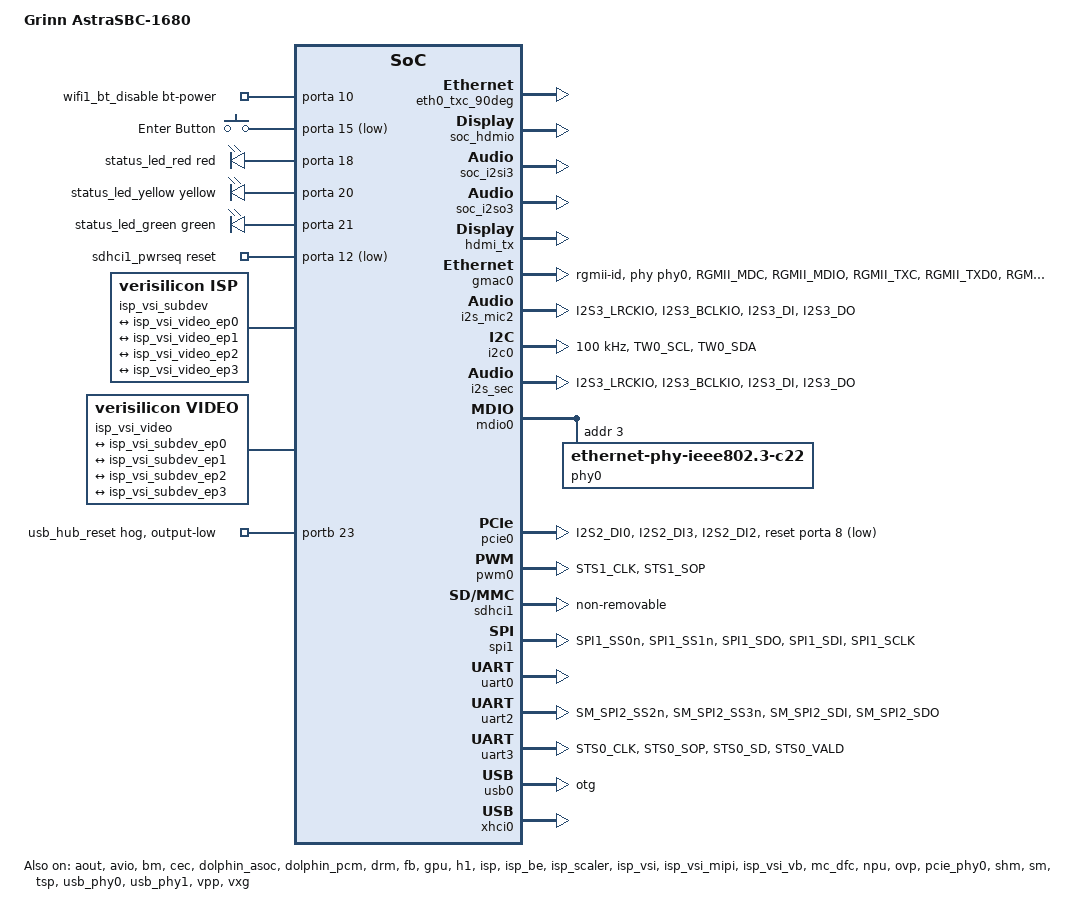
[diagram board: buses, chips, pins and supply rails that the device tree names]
// SPDX-License-Identifier: GPL-2.0+
/*
 * Copyright (C) 2016~2023 Synaptics Incorporated. All rights reserved.
 * Copyright (C) 2025-2026 Grinn sp. z o.o.
 *
 * This program is free software; you can redistribute it and/or modify
 * it under the terms of the GNU General Public License version 2 or
 * later as published by the Free Software Foundation.
 *
 * INFORMATION CONTAINED IN THIS DOCUMENT IS PROVIDED "AS-IS," AND
 * SYNAPTICS EXPRESSLY DISCLAIMS ALL EXPRESS AND IMPLIED WARRANTIES,
 * INCLUDING ANY IMPLIED WARRANTIES OF MERCHANTABILITY AND FITNESS FOR
 * A PARTICULAR PURPOSE, AND ANY WARRANTIES OF NON-INFRINGEMENT OF ANY
 * INTELLECTUAL PROPERTY RIGHTS. IN NO EVENT SHALL SYNAPTICS BE LIABLE
 * FOR ANY DIRECT, INDIRECT, INCIDENTAL, SPECIAL, PUNITIVE, OR
 * CONSEQUENTIAL DAMAGES ARISING OUT OF OR IN CONNECTION WITH THE USE
 * OF THE INFORMATION CONTAINED IN THIS DOCUMENT, HOWEVER CAUSED AND
 * BASED ON ANY THEORY OF LIABILITY, WHETHER IN AN ACTION OF CONTRACT,
 * NEGLIGENCE OR OTHER TORTIOUS ACTION, AND EVEN IF SYNAPTICS WAS
 * ADVISED OF THE POSSIBILITY OF SUCH DAMAGE. IF A TRIBUNAL OF
 * COMPETENT JURISDICTION DOES NOT PERMIT THE DISCLAIMER OF DIRECT
 * DAMAGES OR ANY OTHER DAMAGES, SYNAPTICS' TOTAL CUMULATIVE LIABILITY
 * TO ANY PARTY SHALL NOT EXCEED ONE HUNDRED U.S. DOLLARS.
 */

/dts-v1/;

#include <dt-bindings/gpio/gpio.h>
#include <dt-bindings/input/input.h>
#include <dt-bindings/leds/common.h>
#include "grinn-astra-1680-som.dtsi"

/delete-node/ &isp_vsi_subdev;
/delete-node/ &isp_vsi_video;

/ {
	model = "Grinn AstraSBC-1680";
	compatible = "grinn,grinn-astra-1680-sbc", "syna,dolphin";

	wifi1_bt_disable: wifi1-bt-disable {
		compatible = "syna,rfkill";
		status = "okay";
		bt-power-gpio = <&porta 10 GPIO_ACTIVE_HIGH>;
		pinctrl-0 = <&wifi1_bt_disable_pmux>;
		pinctrl-names = "default";
	};

	bcmdhd_wlan: bcmdhd-wlan {
		compatible = "android,bcmdhd_wlan";
		status = "okay";
		wl_host_wake = <&porta 17 GPIO_ACTIVE_HIGH>;
		pinctrl-0 = <&sdio_wake_pmux>;
		pinctrl-names = "default";
	};

	keys {
		compatible = "gpio-keys";
		status = "okay";
		pinctrl-0 = <&user_button_pmux>;
		pinctrl-names = "default";

		user_button: user-button {
			label = "Enter Button";
			linux,code = <KEY_ENTER>;
			gpios = <&porta 15 GPIO_ACTIVE_LOW>;
			debounce-interval = <50>;
		};
	};

	leds {
		compatible = "gpio-leds";
		status = "okay";
		pinctrl-0 = <&led_red_pmux>, <&led_yellow_pmux>, <&led_green_pmux>;
		pinctrl-names = "default";

		status_led_red: status-led-red {
			gpios = <&porta 18 GPIO_ACTIVE_HIGH>;
			color = <LED_COLOR_ID_RED>;
			function = LED_FUNCTION_POWER;
			linux,default-trigger = "default-on";
			default-state = "off";
		};

		status_led_yellow: status-led-yellow {
			gpios = <&porta 20 GPIO_ACTIVE_HIGH>;
			color = <LED_COLOR_ID_YELLOW>;
			function = LED_FUNCTION_HEARTBEAT;
			linux,default-trigger = "heartbeat";
			default-state = "off";
		};

		status_led_green: status-led-green {
			gpios = <&porta 21 GPIO_ACTIVE_HIGH>;
			color = <LED_COLOR_ID_GREEN>;
			function = LED_FUNCTION_DISK_ACTIVITY;
			linux,default-trigger = "mmc0";
			default-state = "off";
		};
	};

	sdhci1_pwrseq: sdhci1-pwrseq {
		compatible = "mmc-pwrseq-simple";
		pinctrl-names = "default";
		pinctrl-0 = <&wifi1_wf_disable_pmux>;
		reset-gpios = <&porta 12 GPIO_ACTIVE_LOW>;
	};

	soc {
		eth0_txc_90deg: syscon@f7ea0a04 {
			compatible = "syscon";
			reg = <0xf7ea0a04 0x04>;
		};

		isp_vsi_subdev: isp_vsi_subdev {
			id = <0>;
			status = "okay";
			compatible = "verisilicon,isp";

			ports {
				#address-cells = <1>;
				#size-cells = <0>;

				port@1 {
					reg = <1>;
					#address-cells = <1>;
					#size-cells = <0>;
					isp_vsi_subdev_ep0: endpoint@1 {
						reg = <1>;
						remote-endpoint = <&isp_vsi_video_ep0>;
					};
				};

				port@2 {
					reg = <2>;
					#address-cells = <1>;
					#size-cells = <0>;
					isp_vsi_subdev_ep1: endpoint@2 {
						reg = <2>;
						remote-endpoint = <&isp_vsi_video_ep1>;
					};
				};

				port@3 {
					reg = <3>;
					#address-cells = <1>;
					#size-cells = <0>;
					isp_vsi_subdev_ep2: endpoint@3 {
						reg = <3>;
						remote-endpoint = <&isp_vsi_video_ep2>;
					};
				};

				port@4 {
					reg = <4>;
					#address-cells = <1>;
					#size-cells = <0>;
					isp_vsi_subdev_ep3: endpoint@4 {
						reg = <4>;
						remote-endpoint = <&isp_vsi_video_ep3>;
					};
				};
			};
		};

		isp_vsi_video: isp_vsi_video {
			status = "okay";
			compatible = "verisilicon,video";

			ports {
				#address-cells = <1>;
				#size-cells = <0>;

				port@0 {
					reg = <0>;
					#address-cells = <1>;
					#size-cells = <0>;
					isp_vsi_video_ep0: endpoint@0 {
						reg = <0>;
						remote-endpoint = <&isp_vsi_subdev_ep0>;
					};
				};

				port@1 {
					reg = <1>;
					#address-cells = <1>;
					#size-cells = <0>;
					isp_vsi_video_ep1: endpoint@1 {
						reg = <1>;
						remote-endpoint = <&isp_vsi_subdev_ep1>;
					};
				};

				port@2 {
					reg = <2>;
					#address-cells = <1>;
					#size-cells = <0>;
					isp_vsi_video_ep2: endpoint@2 {
						reg = <2>;
						remote-endpoint = <&isp_vsi_subdev_ep2>;
					};
				};

				port@3 {
					reg = <3>;
					#address-cells = <1>;
					#size-cells = <0>;
					isp_vsi_video_ep3: endpoint@3 {
						reg = <3>;
						remote-endpoint = <&isp_vsi_subdev_ep3>;
					};
				};
			};
		};
	};
};

&aout {
	status = "okay";
};

&avio {
	status = "okay";
	pinctrl-0 = <&hdmitx5v_pmux>;
	pinctrl-names = "default";

	vpp {
		hdtx5v-gpio = <&portb 5 GPIO_ACTIVE_HIGH>;
	};
};

&avio_pinctrl {
	led_red_pmux: led-red-pmux {
		groups = "I2S1_MCLK";
		function = "gpio";
	};

	led_yellow_pmux: led-yellow-pmux {
		groups = "I2S1_BCLKIO";
		function = "gpio";
	};

	led_green_pmux: led-green-pmux {
		groups = "I2S1_LRCKIO";
		function = "gpio";
	};

	pcie_clkreq_pmux: pcie-clkreq-pmux {
		groups = "I2S2_DI0";
		function = "gpio";
	};

	pcie_rst_pmux: pcie-rst-pmux {
		groups = "I2S2_DI3";
		function = "gpio";
	};

	pcie_wake_pmux: pcie-wake-pmux {
		groups = "I2S2_DI2";
		function = "gpio";
	};

	rpi_porta_pmux: rpi-porta-pmux {
		groups = "I2S2_MCLK", "I2S2_LRCKIO", "SPDIFO", "SPDIFI";
		function = "gpio";
	};

	sdio_wake_pmux: sdio-wake-pmux {
		groups = "I2S1_DO1";
		function = "gpio";
	};

	user_button_pmux: user-button-pmux {
		groups = "I2S1_DO3";
		function = "gpio";
	};

	wifi1_bt_disable_pmux: wifi1-bt-disable-pmux {
		groups = "I2S2_DI1";
		function = "gpio";
	};

	wifi1_wf_disable_pmux: wifi1-wf-disable-pmux {
		groups = "I2S2_BCLKIO";
		function = "gpio";
	};

	i2s3_pmux: i2s3-pmux {
		groups = "I2S3_LRCKIO", "I2S3_BCLKIO", "I2S3_DI", "I2S3_DO";
		function = "i2s3";
	};
};

&axi_mc0 {
	status = "okay";
};

&bm {
	status = "okay";
};

&cec {
	status = "okay";
	pinctrl-0 = <&cec_pmux>;
	pinctrl-names = "default";
	hdmi-phandle = <&drm>;
};

&dolphin_asoc {
	status = "okay";

	soc_hdmio: soc-hdmio {
		status = "okay";
		stream-name = "soc-hdmio";
		link-name = "soc-hdmio";
		format = "i2s";
		cpu-node = <&hdmi_out>;
		codec-name = "snd-soc-dummy";
		codec-dai-name = "snd-soc-dummy-dai";
		platform-node = <&dolphin_pcm>;
	};

	soc_i2si3: soc-i2si3 {
		status = "okay";
		stream-name = "soc-i2si3";
		link-name = "soc-i2si3";
		format = "i2s";
		cpu-node = <&i2s_mic2>;
		codec-name = "snd-soc-dummy";
		codec-dai-name = "snd-soc-dummy-dai";
		platform-node = <&dolphin_pcm>;
	};

	soc_i2so3: soc-i2so3 {
		status = "okay";
		stream-name = "soc-i2so3";
		link-name = "soc-i2so3";
		format = "i2s";
		continuous-clock;
		bitclock-inversion;
		frame-inversion;
		cpu-node = <&i2s_sec>;
		codec-name = "snd-soc-dummy";
		codec-dai-name = "snd-soc-dummy-dai";
		platform-node = <&dolphin_pcm>;
	};
};

&dolphin_pcm {
	status = "okay";
};

&drm {
	status = "okay";

	/* Supported Modes:	0 - HDMI Only
	 *			1 - MIPI Only
	 *			2 - Dual Mode PIP
	 *
	 * Supported types:	0 - HDMI
	 *			3 - MIPI-DSI
	 */
	disp-mode = <0>;

	hdmi_tx {
		status= "okay";
		/* HDMI_Tx core config array with fields as in below order -
		   HPD handling - 1:enable sink hotplug handling 0:disable sink hotplug handling
		   FixedModeset - 1:Enable mode config from within drm driver(on HPD), disable modeset interface to user
				  0:Expose user interface to set mode, don't control from within drm driver
		 */
		hdtx-core-config = /bits/ 8 <1 1>;
		/* Select format IDs enabled for profile. enter number of entries (inclusive) followed by entries <size, n1, n2..>
		   ID to res mapping as below
		   1280x720P30=10 1280x720P60=13
		   1920x1080P24=22 1920x1080P25=21 1920x1080P30=19 1920x1080P50=26 1920x1080P59.94=25 1920x1080P60=24
		   3840x2160P24=57 3840x2160P25=59 3840x2160P30=61 3840x2160P50=62 3840x2160P59.94=63 3840x2160P60=64
		   720x576P50=9 720x480P60=7*/
		hdtx-supported-formats = /bits/ 8 <15 10 13 22 21 19 26 25 24 61 62 63 64 9 7>;
	};
};

&fb {
	status = "okay";
};

&gmac0 {
	status = "okay";
	pinctrl-0 = <&gmac0_pmux>, <&eth_reset_pmux>, <&eth_int_pmux>;
	pinctrl-names = "default";
	phy-handle = <&phy0>;
	phy-mode = "rgmii-id";
	snps,reset-gpio = <&portd 8 GPIO_ACTIVE_HIGH>;
	snps,reset-delays-us = <0 10000 50000>;
	snps,reset-active-low;
	syna,txc-90deg = <&eth0_txc_90deg>;
};

&gpu {
	status = "okay";
};

&h1 {
	status = "okay";
};

&hdmi_in {
	status = "okay";
};

&hdmi_out {
	status = "okay";
};

&i2s_mic2 {
	status = "okay";
	pinctrl-0 = <&i2s3_pmux>;
	pinctrl-names = "default";
	duplex;
	disablemicmute;
};

&i2c0 {
	status = "okay";
	pinctrl-names = "default";
	pinctrl-0 = <&i2c0_pmux>;
	clock-frequency = <100000>;
	no-irq-suspend;
};

&isp {
	status = "okay";
};

&isp_be {
	status = "okay";
};

&isp_scaler {
	status = "okay";
};

&isp_vsi {
	status = "okay";
	/* Use the reset GPIO to enable the camera LED. */
	reset-gpios = <&portd 16 GPIO_ACTIVE_HIGH>;
	enable-gpios = <&portd 17 GPIO_ACTIVE_HIGH>;
};

&isp_vsi_mipi {
	status = "okay";
};

&isp_vsi_vb {
	status = "okay";
};

&i2s_sec {
	status = "okay";
	pinctrl-0 = <&i2s3_pmux>;
	pinctrl-names = "default";
	duplex;
	sample-period = <32>;
};

&mc_dfc {
	status = "okay";
};

&mdio0 {
	phy0: ethernet-phy@3 {
		reg = <3>;
		compatible = "ethernet-phy-ieee802.3-c22";
		device_type = "ethernet-phy";
		rxc-skew-ps = <1500>;
		rxdv-skew-ps = <420>;
		rxd0-skew-ps = <420>;
		rxd1-skew-ps = <420>;
		rxd2-skew-ps = <420>;
		rxd3-skew-ps = <420>;
		txc-skew-ps = <900>;
		txen-skew-ps = <420>;
		txd0-skew-ps = <420>;
		txd1-skew-ps = <420>;
		txd2-skew-ps = <420>;
		txd3-skew-ps = <420>;
	};
};

&npu {
	status = "okay";
};

&ovp {
	status = "okay";
};

&pcie_phy0 {
	status = "okay";
};

&pcie0 {
	status = "okay";
	reset-gpios = <&porta 8 GPIO_ACTIVE_LOW>;
	pinctrl-0 = <&pcie_clkreq_pmux>, <&pcie_rst_pmux>, <&pcie_wake_pmux>;
	pinctrl-names = "default";
};

&pinctrl {
	gmac0_pmux: gmac0-pmux {
		groups = "RGMII_MDC", "RGMII_MDIO", "RGMII_TXC", "RGMII_TXD0",
			 "RGMII_TXD1", "RGMII_TXD2", "RGMII_TXD3", "RGMII_TXCTL", "RGMII_RXC",
			 "RGMII_RXD0", "RGMII_RXD1", "RGMII_RXD2", "RGMII_RXD3", "RGMII_RXCTL";
		function = "rgmii";
		drive-strength = <3>;
	};

	hdmitx5v_pmux: hdmitx5v-pmux {
		groups = "STS1_SD";
		function = "gpio";
	};

	i2c0_pmux: i2c0-pmux {
		groups = "TW0_SCL", "TW0_SDA";
		function = "tw0";
		drive-strength = <7>;
	};

	pwm0_pmux: pwm0-pmux {
		groups = "STS1_CLK", "STS1_SOP";
		function = "pwm";
	};

	rpi_portb_pmux: rpi-portb-pmux {
		groups = "SDIO_WP", "SDIO_CDn", "STS1_VALD";
		function = "gpio";
	};

	spi1_pmux: spi1-pmux {
		groups = "SPI1_SS0n", "SPI1_SS1n", "SPI1_SDO", "SPI1_SDI", "SPI1_SCLK";
		function = "spi1";
	};

	uart3_pmux: uart3-pmux {
		groups = "STS0_CLK", "STS0_SOP", "STS0_SD", "STS0_VALD";
		function = "uart3";
		drive-strength = <3>;
	};

	usb_hub_reset_pmux: usb-hub-reset-pmux {
		groups = "USB2_DRV_VBUS";
		function = "gpio";
	};
};

&porta {
	pinctrl-0 = <&rpi_porta_pmux>;
	pinctrl-names = "default";

	gpio-line-names =
		"", "", "", "", "RPi_GPIO_6", "", "", "RPi_GPIO_27",
		"PCIE_RSTn", "PCIE_WAKEn", "WIFI1_BT_DISABLEn", "PCIE_CLKREQn", "WIFI1_WF_DISABLEn", "RPi_GPIO_26", "RPi_GPIO_5", "USER_BUTTON",
		"", "SDIO_WAKEn", "LED_RED", "", "LED_YELLOW", "LED_GREEN", "", "",
		"", "", "", "", "", "", "", "";
};

&portb {
	pinctrl-0 = <&rpi_portb_pmux>, <&usb_hub_reset_pmux>;
	pinctrl-names = "default";

	gpio-line-names =
		"", "", "", "", "RPi_GPIO_4", "HDMI_TX_5V_EN", "", "",
		"", "", "", "", "RPi_GPIO_0", "RPi_GPIO_1", "", "",
		"", "", "", "", "", "", "", "USB_HUB_RESET",
		"", "", "", "", "", "", "", "";

	disable_usb_hub_reset {
		gpio-hog;
		gpios = <23 GPIO_ACTIVE_HIGH>;
		output-low;
		line-name = "usb_hub_reset";
	};
};

&portd {
	pinctrl-0 = <&cam_gpio0_pmux>, <&cam_gpio1_pmux>, <&optiga_rstn_pmux>, <&rpi_portd_pmux>;
	pinctrl-names = "default";

	gpio-line-names =
		"RPi_GPIO_24", "RPi_GPIO_25", "", "", "", "", "OPTIGA_RSTn", "ETH_INTn",
		"ETH_RESETn", "", "", "RPi_GPIO_16", "", "", "", "",
		"", "", "", "", "", "", "", "",
		"", "", "", "", "", "", "", "";
};

&pwm0 {
	status = "okay";
	pinctrl-0 = <&pwm0_pmux>;
	pinctrl-names = "default";
};

&sdhci1 {
	status = "okay";
	no-mmc;
	no-sd;
	non-removable;
	disable-wp;
	keep-power-in-suspend;
	broken-cd;
	sd-uhs-sdr104;
	max-frequency = <200000000>;
	mmc-pwrseq = <&sdhci1_pwrseq>;
};

&shm {
	status = "okay";
};

&sm {
	status = "okay";
};

&sm_pinctrl {
	cam_gpio0_pmux: cam-gpio0-pmux {
		groups = "SM_SPI2_SS0n";
		function = "gpio";
	};

	cam_gpio1_pmux: cam-gpio1-pmux {
		groups = "SM_SPI2_SS1n";
		function = "gpio";
	};

	cec_pmux: cec-pmux {
		groups = "SM_HDMI_CEC";
		function = "hdmi";
	};

	eth_int_pmux: eth-int-pmux {
		groups = "SM_TDI";
		function = "gpio";
	};

	eth_reset_pmux: eth-reset-pmux {
		groups = "SM_TDO";
		function = "gpio";
	};

	optiga_rstn_pmux: optiga-rstn-pmux {
		groups = "SM_TMS";
		function = "gpio";
	};

	rpi_portd_pmux: rpi-portd-pmux {
		groups = "SM_SPI2_SCLK", "SM_TW2_SCL", "SM_TW2_SDA";
		function = "gpio";
	};

	uart2_pmux: uart2-pmux {
		groups = "SM_SPI2_SS2n", "SM_SPI2_SS3n", "SM_SPI2_SDI", "SM_SPI2_SDO";
		function = "uart2";
		drive-strength = <3>;
	};
};

&spi1 {
	status = "okay";
	pinctrl-0 = <&spi1_pmux>;
	pinctrl-names = "default";
};

&tsp {
	status = "okay";
};

&uart0 {
	status = "okay";
};

&uart2 {
	status = "okay";
	pinctrl-0 = <&uart2_pmux>;
	pinctrl-names = "default";
};

&uart3 {
	status = "okay";
	pinctrl-0 = <&uart3_pmux>;
	pinctrl-names = "default";
};

&usb_phy0  {
	status = "okay";
};

&usb_phy1  {
	status = "okay";
};

&usb0 {
	status = "okay";
	dr_mode = "otg";
};

&vpp {
	status = "okay";
};

&vxg {
	status = "okay";
};

&xhci0 {
	status = "okay";
};
